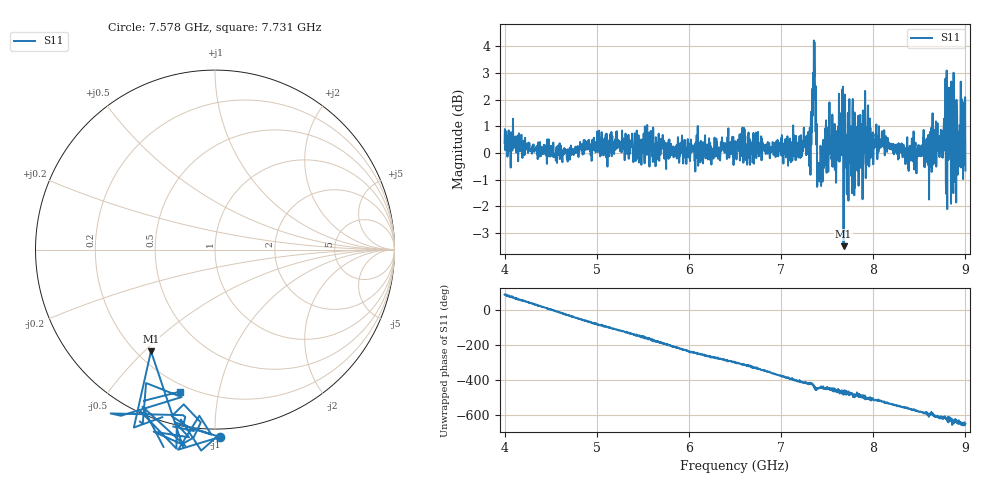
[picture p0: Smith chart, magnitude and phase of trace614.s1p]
! Created with skrf 1.8.0 (http://scikit-rf.org).
# Hz S RI R 50.0
!freq ReS11 ImS11
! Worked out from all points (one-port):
!   1601 points, 4 GHz to 9 GHz, reference 50 ohm
!   lowest |S11| = -3.5 dB at 7.678 GHz (marker M1), VSWR 5.04, Z = 12.8 - j26.2 ohm
!   |S11| at or under -10 dB: nowhere
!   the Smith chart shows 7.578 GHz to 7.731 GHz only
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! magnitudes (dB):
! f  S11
! 4 GHz  0.4
! 4.625 GHz  -0.3
! 5.25 GHz  0.3
! 5.875 GHz  0.3
! 6.5 GHz  0.2
! 7.125 GHz  0.3
! 7.294 GHz  0.0
! 7.316 GHz  0.5
! 7.356 GHz  4.2
! 7.372 GHz  2.5
! 7.4 GHz  -0.9
! 7.416 GHz  -0.4
! 7.481 GHz  -0.4
! 7.609 GHz  0.6
! 7.647 GHz  0.2
! 7.678 GHz  -3.5
! 7.703 GHz  -0.5
! 7.75 GHz  -0.4
! 7.891 GHz  -0.4
! 8.375 GHz  -0.1
! 8.612 GHz  0.2
! 8.656 GHz  0.9
! 8.728 GHz  0.3
! 8.759 GHz  0.3
! 8.875 GHz  0.6
! 8.956 GHz  0.8
! 8.972 GHz  0.5
! 9 GHz  -0.7
